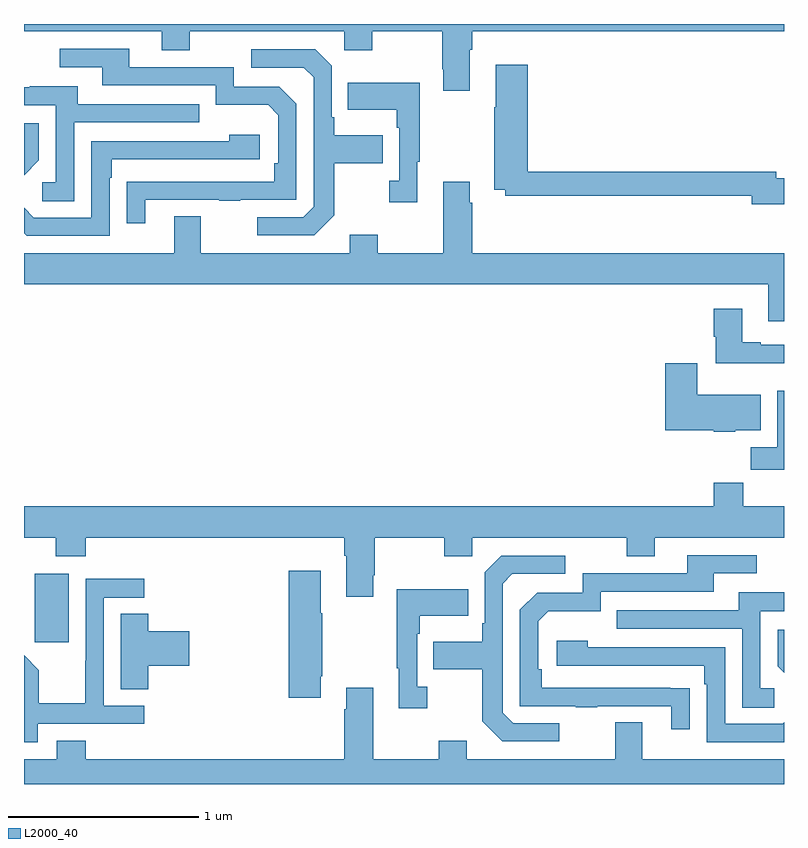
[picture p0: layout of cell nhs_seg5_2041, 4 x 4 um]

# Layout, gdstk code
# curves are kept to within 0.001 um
import gdstk
lib = gdstk.Library(unit=1e-6, precision=1e-09)
def R(c, l, rs):  # rectangles x0, y0, x1, y1
    for r in rs: c.add(gdstk.rectangle(r[:2], r[2:], *l))
def P(c, l, *ps):  # polygons
    for p in ps: c.add(gdstk.Polygon(p, *l))
L2000_40 = (2000, 40)

nhs_seg5_2041 = lib.new_cell('nhs_seg5_2041')
R(nhs_seg5_2041, L2000_40, [(231.056,853.545,231.235,853.906)])
P(nhs_seg5_2041, L2000_40, [(233.347,856.664),(233.36,856.664),(233.36,856.76),(235,856.76),(235,856.799),(231,856.799),(231,856.76),(231.725,856.76),(231.725,856.661),(231.873,856.661),(231.873,856.76),(232.686,856.76),(232.686,856.661),(232.833,856.661),(232.833,856.76),(233.2,856.76),(233.2,856.561),(233.207,856.561),(233.207,856.449),(233.347,856.449)],
  [(231.637,855.873),(232.027,855.873),(232.027,855.868),(232.139,855.868),(232.139,855.873),(232.434,855.873),(232.434,856.38),(232.344,856.47),(232.104,856.47),(232.104,856.572),(231.553,856.572),(231.553,856.668),(231.189,856.668),(231.189,856.572),(231.413,856.572),(231.413,856.476),(232.008,856.476),(232.008,856.373),(232.285,856.373),(232.338,856.32),(232.338,856.066),(232.318,856.066),(232.318,855.969),(231.541,855.968),(231.541,855.75),(231.637,855.75)],
  [(232.633,855.793),(232.633,856.066),(232.889,856.066),(232.889,856.213),(232.633,856.213),(232.633,856.309),(232.62,856.309),(232.62,856.578),(232.533,856.665),(232.197,856.665),(232.197,856.569),(232.473,856.569),(232.524,856.518),(232.524,855.837),(232.47,855.783),(232.227,855.783),(232.227,855.687),(232.527,855.687)],
  [(235,855.986),(234.958,855.986),(234.958,856.022),(233.651,856.022),(233.651,856.585),(233.483,856.585),(233.483,856.361),(233.476,856.361),(233.476,855.926),(233.532,855.926),(233.532,855.894),(234.83,855.894),(234.83,855.851),(235,855.851)],
  [(233.071,856.073),(233.083,856.073),(233.083,856.489),(232.705,856.489),(232.705,856.349),(232.962,856.349),(232.962,856.253),(232.974,856.253),(232.974,855.974),(232.923,855.974),(232.923,855.861),(233.071,855.861)],
  [(231.264,856.281),(231.923,856.281),(231.923,856.377),(231.283,856.377),(231.283,856.471),(231.029,856.471),(231.029,856.467),(231,856.467),(231,856.371),(231.168,856.371),(231.168,855.966),(231.096,855.966),(231.096,855.865),(231.264,855.865)],
  [(231.078,856.082),(231.078,856.276),(231,856.276),(231,856.004)],
  [(231.45,855.989),(231.463,855.989),(231.463,856.086),(232.24,856.086),(232.24,856.216),(232.079,856.216),(232.079,856.182),(231.354,856.182),(231.354,855.78),(231.051,855.78),(231,855.831),(231,855.699),(231.015,855.684),(231.45,855.684)],
  [(235,855.592),(233.36,855.592),(233.36,855.857),(233.347,855.857),(233.347,855.97),(233.207,855.97),(233.207,855.592),(232.863,855.592),(232.863,855.691),(232.715,855.691),(232.715,855.592),(231.931,855.592),(231.931,855.787),(231.791,855.787),(231.791,855.592),(231,855.592),(231,855.428),(234.917,855.428),(234.917,855.234),(235,855.234)],
  [(235,855.111),(234.877,855.111),(234.877,855.124),(234.781,855.124),(234.781,855.301),(234.629,855.301),(234.629,855.153),(234.641,855.153),(234.641,855.014),(235,855.014)],
  [(234.744,854.66),(234.877,854.66),(234.877,854.848),(234.544,854.848),(234.544,855.013),(234.374,855.013),(234.374,854.66),(234.63,854.66),(234.63,854.654),(234.744,854.654)],
  [(235,854.869),(234.965,854.869),(234.965,854.572),(234.826,854.572),(234.826,854.454),(235,854.454)],
  [(232.837,853.897),(232.845,853.897),(232.845,854.096),(233.212,854.096),(233.212,853.997),(233.358,853.997),(233.358,854.096),(234.172,854.096),(234.172,853.997),(234.319,853.997),(234.319,854.096),(235,854.096),(235,854.26),(234.785,854.26),(234.785,854.384),(234.629,854.384),(234.629,854.26),(231,854.26),(231,854.096),(231.166,854.096),(231.166,853.997),(231.326,853.997),(231.326,854.096),(232.685,854.096),(232.685,854),(232.697,854),(232.697,853.785),(232.837,853.785)],
  [(234.503,853.304),(233.726,853.305),(233.726,853.402),(233.706,853.402),(233.706,853.656),(233.759,853.709),(234.036,853.709),(234.036,853.812),(234.631,853.812),(234.631,853.908),(234.856,853.908),(234.856,854.004),(234.491,854.004),(234.491,853.908),(233.94,853.908),(233.94,853.806),(233.7,853.806),(233.61,853.716),(233.61,853.209),(233.905,853.209),(233.905,853.204),(234.017,853.204),(234.017,853.209),(234.407,853.209),(234.407,853.086),(234.503,853.086)],
  [(233.818,853.119),(233.574,853.119),(233.52,853.173),(233.52,853.854),(233.571,853.905),(233.848,853.905),(233.848,854.001),(233.511,854.001),(233.424,853.914),(233.424,853.645),(233.412,853.645),(233.412,853.549),(233.155,853.549),(233.155,853.402),(233.412,853.402),(233.412,853.129),(233.517,853.023),(233.818,853.023)],
  [(232.561,853.366),(232.569,853.366),(232.569,853.697),(232.561,853.697),(232.561,853.921),(232.394,853.921),(232.394,853.254),(232.561,853.254)],
  [(231.072,853.116),(231.634,853.116),(231.634,853.212),(231.42,853.212),(231.42,853.779),(231.634,853.779),(231.634,853.878),(231.324,853.878),(231.324,853.448),(231.322,853.448),(231.322,853.225),(231.077,853.225),(231.077,853.399),(231,853.476),(231,853.019),(231.072,853.019)],
  [(233.122,853.31),(233.07,853.31),(233.07,853.589),(233.083,853.589),(233.083,853.685),(233.339,853.685),(233.339,853.825),(232.962,853.825),(232.962,853.409),(232.973,853.409),(232.973,853.197),(233.122,853.197)],
  [(234.949,853.302),(234.876,853.302),(234.876,853.707),(235,853.707),(235,853.807),(234.761,853.807),(234.761,853.713),(234.121,853.713),(234.121,853.617),(234.78,853.617),(234.78,853.201),(234.949,853.201)],
  [(231.653,853.421),(231.871,853.421),(231.871,853.604),(231.653,853.604),(231.653,853.694),(231.509,853.694),(231.509,853.297),(231.653,853.297)],
  [(235,853.612),(234.966,853.612),(234.966,853.418),(235,853.384)],
  [(235,853.123),(234.993,853.116),(234.69,853.116),(234.69,853.518),(233.966,853.518),(233.966,853.552),(233.805,853.552),(233.805,853.422),(234.581,853.422),(234.581,853.325),(234.594,853.325),(234.594,853.02),(235,853.02)],
  [(235,852.928),(234.253,852.928),(234.253,853.123),(234.113,853.123),(234.113,852.928),(233.329,852.928),(233.329,853.027),(233.182,853.027),(233.182,852.928),(232.837,852.928),(232.837,853.306),(232.697,853.306),(232.697,853.193),(232.685,853.193),(232.685,852.928),(231.326,852.928),(231.326,853.027),(231.173,853.027),(231.173,852.928),(231,852.928),(231,852.799),(235,852.799)])

lib.write_gds('nhs_seg5_2041.gds')
